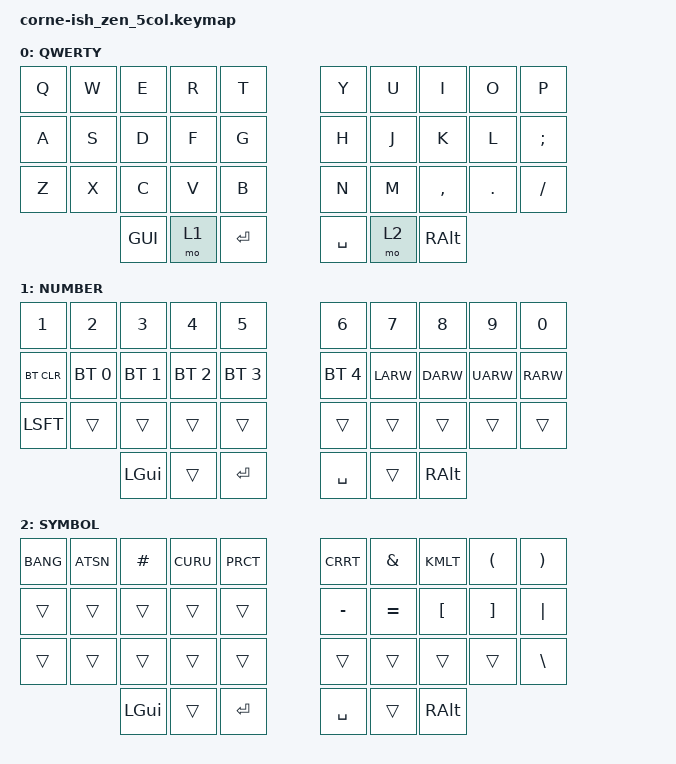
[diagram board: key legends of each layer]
/*
*
* Copyright (c) 2021 Darryl deHaan
* SPDX-License-Identifier: MIT
*
*/

#include <behaviors.dtsi>
#include <dt-bindings/zmk/keys.h>
#include <dt-bindings/zmk/bt.h>

/ {
        keymap {
                compatible = "zmk,keymap";

                default_layer {
                        label = "QWERTY";
// -----------------------------------------------------------------------------------------
// |  Q  |  W  |  E  |  R  |  T  |   |  Y  |  U   |  I  |  O  |  P  |
// |  A  |  S  |  D  |  F  |  G  |   |  H  |  J   |  K  |  L  |  ;  |
// |  Z  |  X  |  C  |  V  |  B  |   |  N  |  M   |  ,  |  .  |  /  |
//             | GUI | LWR | ENT |   | SPC | RSE  | ALT |
                        bindings = <
   &kp Q &kp W &kp E &kp R &kp T   &kp Y &kp U  &kp I    &kp O   &kp P    
   &kp A &kp S &kp D &kp F &kp G   &kp H &kp J  &kp K    &kp L   &kp SCLN 
   &kp Z &kp X &kp C &kp V &kp B   &kp N &kp M  &kp CMMA &kp DOT &kp FSLH 
           &kp GUI &mo 1 &kp RET   &kp SPC &mo 2 &kp RALT
                        >;
                };
                lower_layer {
                        label = "NUMBER";
// -----------------------------------------------------------------------------------------
// |  1  |  2  |  3  |  4  |  5  |   |  6  |  7  |  8  |  9  |  0  |
// |BTCLR| BT1 | BT2 | BT3 | BT4 |   | BT5 | LFT | DWN |  UP | RGT |
// |     |     |     |     |     |   |     |     |     |     |     |
//             | GUI |     | SPC |   | ENT |     | ALT |
                        bindings = <
   &kp NUM_1    &kp NUM_2    &kp NUM_3    &kp NUM_4  &kp NUM_5          &kp NUM_6 &kp NUM_7 &kp NUM_8 &kp NUM_9 &kp NUM_0 
   &bt BT_CLR &bt BT_SEL 0 &bt BT_SEL 1 &bt BT_SEL 2 &bt BT_SEL 3       &bt BT_SEL 4 &kp LARW  &kp DARW  &kp UARW  &kp RARW 
   &kp LSFT   &trans       &trans       &trans       &trans             &trans    &trans    &trans    &trans    &trans   
                           &kp LGUI     &trans       &kp RET            &kp SPC   &trans &kp RALT
                        >;
                };

                raise_layer {
                        label = "SYMBOL";
// -----------------------------------------------------------------------------------------
// |  !  |  @  |  #  |  $  |  %  |   |  ^  |  &  |  *  |  (  |  )  |
// |     |     |     |     |     |   |  -  |  =  |  {  |  }  | "|" |
// |     |     |     |     |     |   |  _  |  +  |  [  |  ]  |  \  | // TODO: Fix this row when &mkp is committed
//             | GUI |     | SPC |   | ENT |     | ALT |
                        bindings = <
   &kp BANG  &kp ATSN  &kp HASH  &kp CURU  &kp PRCT    &kp CRRT  &kp AMPS &kp KMLT &kp LPRN &kp RPRN 
   &trans    &trans    &trans    &trans    &trans      &kp MINUS &kp EQL  &kp LBKT &kp RBKT &kp PIPE 
   &trans    &trans    &trans    &trans    &trans      &trans    &trans   &trans   &trans   &kp BSLH 
                           &kp LGUI &trans &kp RET     &kp SPC   &trans &kp RALT
                        >;
                };
        };
};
